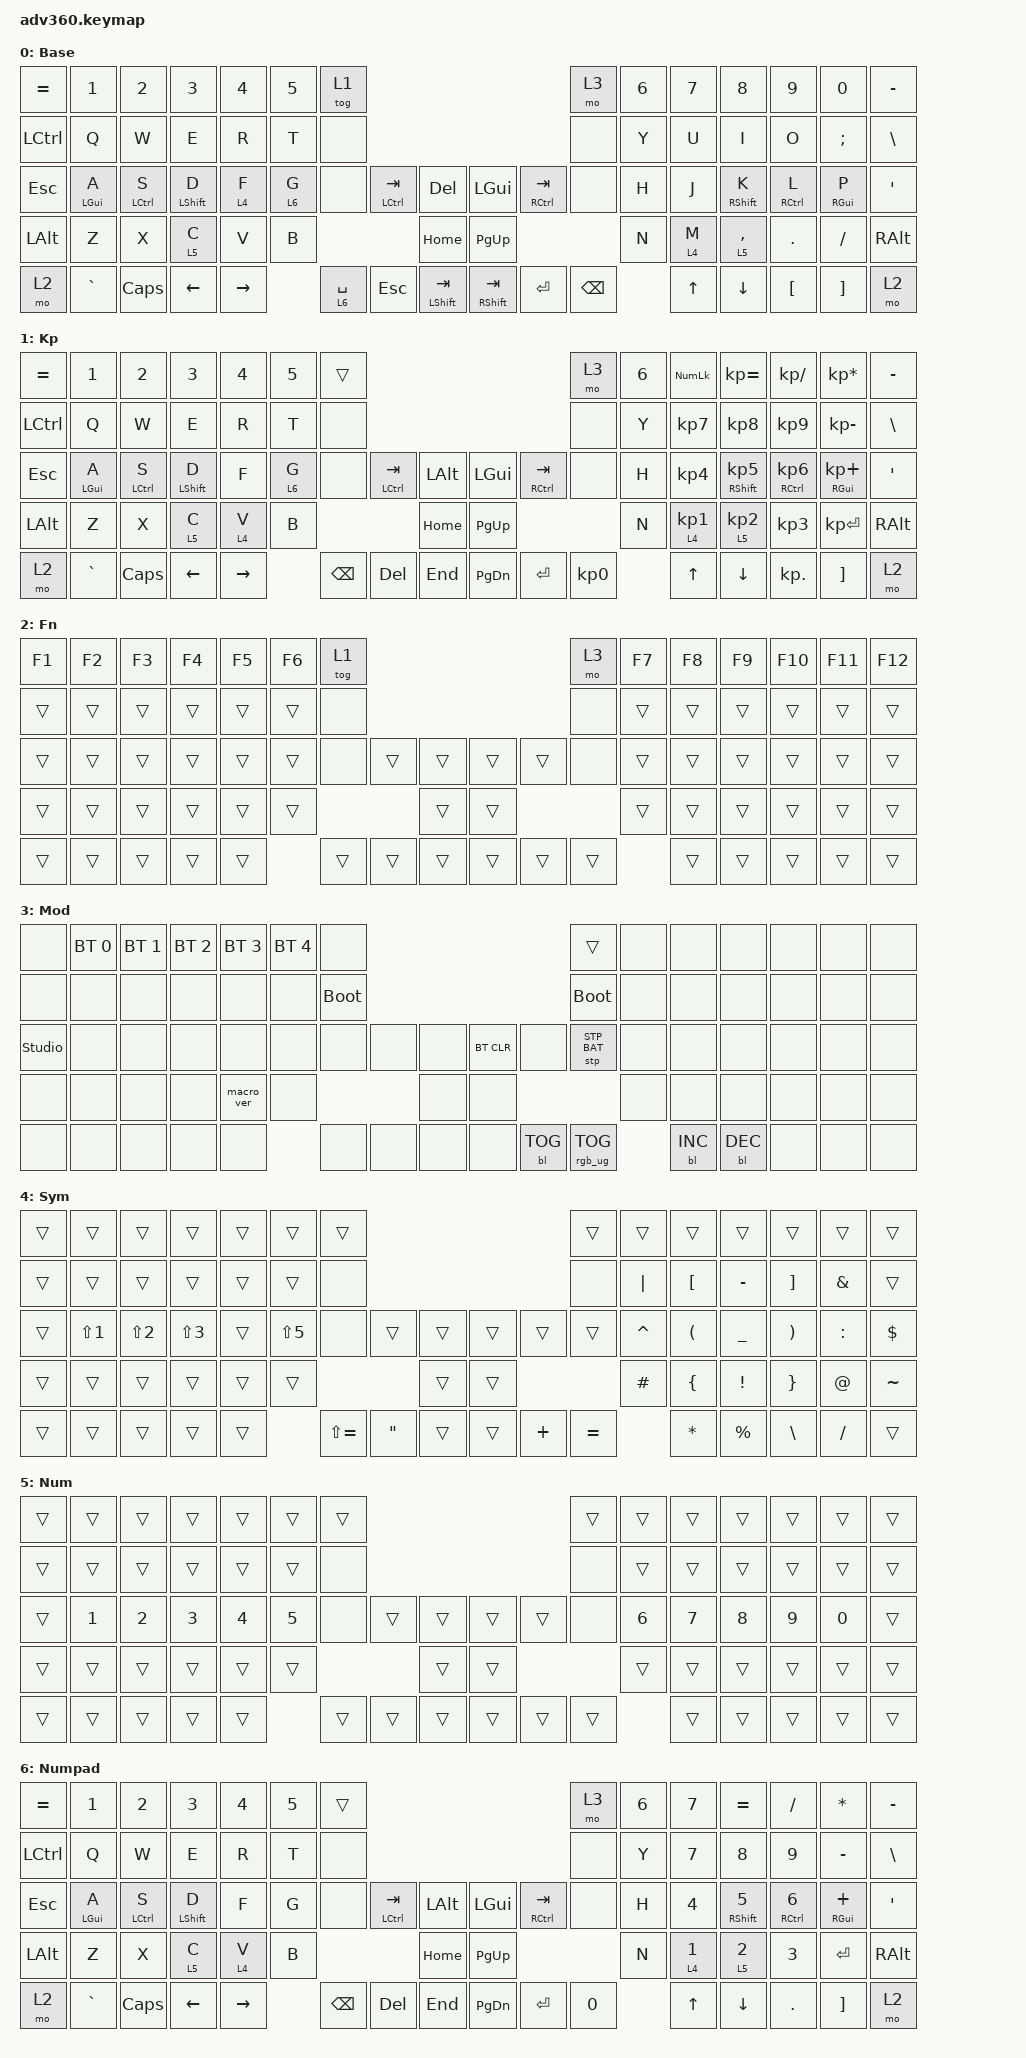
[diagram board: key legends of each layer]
#include <dt-bindings/zmk/stp.h>
#include <behaviors.dtsi>
#include <dt-bindings/zmk/backlight.h>
#include <dt-bindings/zmk/bt.h>
#include <dt-bindings/zmk/keys.h>
#include <dt-bindings/zmk/rgb.h>

/ {
    behaviors {
        #include "macros.dtsi"
      #include "version.dtsi"

        hm: homerow_mods {
            compatible = "zmk,behavior-hold-tap";
            label = "HOMEROW_MODS";
            #binding-cells = <2>;
            tapping-term-ms = <200>;
            quick_tap_ms = <175>;
            flavor = "tap-preferred";
            bindings = <&kp>, <&kp>;
        };

        sym: symbol_mods {
            compatible = "zmk,behavior-hold-tap";
            label = "SYMBOL_MODS";
            #binding-cells = <2>;
            tapping-term-ms = <200>;
            quick_tap_ms = <175>;
            flavor = "tap-preferred";
            bindings = <&mo>, <&kp>;
        };

        num: number_mods {
            compatible = "zmk,behavior-hold-tap";
            label = "NUMBER_MODS";
            #binding-cells = <2>;
            tapping-term-ms = <200>;
            quick_tap_ms = <175>;
            flavor = "tap-preferred";
            bindings = <&mo>, <&kp>;
        };

        mt: mod_tap {
            compatible = "zmk,behavior-hold-tap";
            label = "MOD_TAP";
            #binding-cells = <2>;
            tapping-term-ms = <200>;
            quick_tap_ms = <175>;
            flavor = "tap-preferred";
            bindings = <&kp>, <&kp>;
        };

        lt: layer_tap {
            compatible = "zmk,behavior-hold-tap";
            label = "LAYER_TAP";
            #binding-cells = <2>;
            tapping-term-ms = <200>;
            quick_tap_ms = <175>;
            flavor = "tap-preferred";
            bindings = <&mo>, <&kp>;
        };
    };

    keymap {
        compatible = "zmk,keymap";

        default_layer {
            display-name = "Base";
            bindings = <
&kp EQUAL  &kp N1      &kp N2       &kp N3       &kp N4     &kp N5   &tog 1                                                                       &mo 3          &kp N6  &kp N7    &kp N8        &kp N9       &kp N0         &kp MINUS
&kp LCTRL  &kp Q       &kp W        &kp E        &kp R      &kp T    &none                                                                        &none          &kp Y   &kp U     &kp I         &kp O        &kp SEMICOLON  &kp BSLH
&kp ESC    &hm LGUI A  &hm LCTRL S  &mt LSHFT D  &sym 4 F   &lt 6 G  &none        &mt LCTRL TAB  &kp DEL            &kp LGUI       &mt RCTRL TAB  &none          &kp H   &kp J     &mt RSHFT K   &hm RCTRL L  &hm RGUI P     &kp SQT
&kp LALT   &kp Z       &kp X        &num 5 C     &kp V      &kp B                                &kp HOME           &kp PG_UP                                    &kp N   &sym 4 M  &num 5 COMMA  &kp DOT      &kp SLASH      &kp RALT
&mo 2      &kp GRAVE   &kp CAPS     &kp LEFT     &kp RIGHT           &lt 6 SPACE  &kp ESCAPE     &mt LSHFT TAB      &mt RSHFT TAB  &kp ENTER      &kp BACKSPACE          &kp UP    &kp DOWN      &kp LBKT     &kp RBKT       &mo 2
            >;
        };

        keypad {
            display-name = "Kp";
            bindings = <
&kp EQUAL  &kp N1      &kp N2       &kp N3       &kp N4     &kp N5    &trans                                                           &mo 3      &kp N6  &kp KP_NUM    &kp KP_EQUAL     &kp KP_DIVIDE    &kp KP_MULTIPLY   &kp MINUS
&kp LCTRL  &kp Q       &kp W        &kp E        &kp R      &kp T     &none                                                            &none      &kp Y   &kp KP_N7     &kp KP_N8        &kp KP_N9        &kp KP_MINUS      &kp BSLH
&kp ESC    &hm LGUI A  &hm LCTRL S  &mt LSHFT D  &kp F      &num 6 G  &none     &mt LCTRL TAB  &kp LALT      &kp LGUI   &mt RCTRL TAB  &none      &kp H   &kp KP_N4     &mt RSHFT KP_N5  &hm RCTRL KP_N6  &hm RGUI KP_PLUS  &kp SQT
&kp LALT   &kp Z       &kp X        &num 5 C     &sym 4 V   &kp B                              &kp HOME      &kp PG_UP                            &kp N   &sym 4 KP_N1  &num 5 KP_N2     &kp KP_N3        &kp KP_ENTER      &kp RALT
&mo 2      &kp GRAVE   &kp CAPS     &kp LEFT     &kp RIGHT            &kp BSPC  &kp DEL        &kp END       &kp PG_DN  &kp ENTER      &kp KP_N0          &kp UP        &kp DOWN         &kp KP_DOT       &kp RBKT          &mo 2
            >;
        };

        fn {
            display-name = "Fn";
            bindings = <
&kp F1  &kp F2  &kp F3  &kp F4  &kp F5  &kp F6  &tog 1                                      &mo 3   &kp F7  &kp F8  &kp F9  &kp F10  &kp F11  &kp F12
&trans  &trans  &trans  &trans  &trans  &trans  &none                                       &none   &trans  &trans  &trans  &trans   &trans   &trans
&trans  &trans  &trans  &trans  &trans  &trans  &none   &trans  &trans      &trans  &trans  &none   &trans  &trans  &trans  &trans   &trans   &trans
&trans  &trans  &trans  &trans  &trans  &trans                  &trans      &trans                  &trans  &trans  &trans  &trans   &trans   &trans
&trans  &trans  &trans  &trans  &trans          &trans  &trans  &trans      &trans  &trans  &trans          &trans  &trans  &trans   &trans   &trans
            >;
        };

        mod {
            display-name = "Mod";
            bindings = <
&none           &bt BT_SEL 0  &bt BT_SEL 1  &bt BT_SEL 2  &bt BT_SEL 3  &bt BT_SEL 4  &none                                                  &trans           &none  &none       &none       &none  &none  &none
&none           &none         &none         &none         &none         &none         &bootloader                                            &bootloader      &none  &none       &none       &none  &none  &none
&studio_unlock  &none         &none         &none         &none         &none         &none        &none  &none      &bt BT_CLR  &none       &stp STP_BAT     &none  &none       &none       &none  &none  &none
&none           &none         &none         &none         &macro_ver    &none                             &none      &none                                    &none  &none       &none       &none  &none  &none
&none           &none         &none         &none         &none                       &none        &none  &none      &none       &bl BL_TOG  &rgb_ug RGB_TOG         &bl BL_INC  &bl BL_DEC  &none  &none  &none
            >;
        };

        sym {
            display-name = "Sym";
            bindings = <
&trans  &trans      &trans      &trans      &trans  &trans      &trans                                                          &trans     &trans     &trans                &trans           &trans                 &trans         &trans
&trans  &trans      &trans      &trans      &trans  &trans      &none                                                           &none      &kp PIPE   &kp LEFT_BRACKET      &kp MINUS        &kp RIGHT_BRACKET      &kp AMPERSAND  &trans
&trans  &kp LS(N1)  &kp LS(N2)  &kp LS(N3)  &trans  &kp LS(N5)  &none          &trans             &trans      &trans  &trans    &trans     &kp CARET  &kp LEFT_PARENTHESIS  &kp UNDERSCORE   &kp RIGHT_PARENTHESIS  &kp COLON      &kp DOLLAR
&trans  &trans      &trans      &trans      &trans  &trans                                        &trans      &trans                       &kp HASH   &kp LEFT_BRACE        &kp EXCLAMATION  &kp RIGHT_BRACE        &kp AT_SIGN    &kp TILDE
&trans  &trans      &trans      &trans      &trans              &kp LS(EQUAL)  &kp DOUBLE_QUOTES  &trans      &trans  &kp PLUS  &kp EQUAL             &kp ASTERISK          &kp PERCENT      &kp BACKSLASH          &kp SLASH      &trans
            >;
        };

        num {
            display-name = "Num";
            bindings = <
&trans  &trans  &trans  &trans  &trans  &trans  &trans                                      &trans  &trans  &trans  &trans  &trans  &trans  &trans
&trans  &trans  &trans  &trans  &trans  &trans  &none                                       &none   &trans  &trans  &trans  &trans  &trans  &trans
&trans  &kp N1  &kp N2  &kp N3  &kp N4  &kp N5  &none   &trans  &trans      &trans  &trans  &none   &kp N6  &kp N7  &kp N8  &kp N9  &kp N0  &trans
&trans  &trans  &trans  &trans  &trans  &trans                  &trans      &trans                  &trans  &trans  &trans  &trans  &trans  &trans
&trans  &trans  &trans  &trans  &trans          &trans  &trans  &trans      &trans  &trans  &trans          &trans  &trans  &trans  &trans  &trans
            >;
        };

        numpad {
            display-name = "Numpad";
            bindings = <
&kp EQUAL  &kp N1      &kp N2       &kp N3       &kp N4     &kp N5  &trans                                                           &mo 3   &kp N6  &kp N7     &kp EQUAL     &kp FSLH      &kp STAR       &kp MINUS
&kp LCTRL  &kp Q       &kp W        &kp E        &kp R      &kp T   &none                                                            &none   &kp Y   &kp N7     &kp N8        &kp N9        &kp MINUS      &kp BSLH
&kp ESC    &hm LGUI A  &hm LCTRL S  &mt LSHFT D  &kp F      &kp G   &none     &mt LCTRL TAB  &kp LALT      &kp LGUI   &mt RCTRL TAB  &none   &kp H   &kp N4     &mt RSHFT N5  &hm RCTRL N6  &hm RGUI PLUS  &kp SQT
&kp LALT   &kp Z       &kp X        &num 5 C     &sym 4 V   &kp B                            &kp HOME      &kp PG_UP                         &kp N   &sym 4 N1  &num 5 N2     &kp N3        &kp ENTER      &kp RALT
&mo 2      &kp GRAVE   &kp CAPS     &kp LEFT     &kp RIGHT          &kp BSPC  &kp DEL        &kp END       &kp PG_DN  &kp ENTER      &kp N0          &kp UP     &kp DOWN      &kp DOT       &kp RBKT       &mo 2
            >;
        };

        extra3 {
            display-name = "Cyan";
            status = "reserved";
        };

        extra4 {
            display-name = "Yellow";
            status = "reserved";
        };
    };
};
